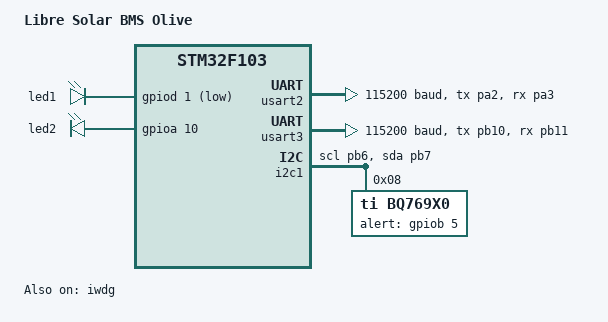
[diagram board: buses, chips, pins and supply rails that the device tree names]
/*
 * Copyright (c) The Libre Solar Project Contributors
 *
 * SPDX-License-Identifier: Apache-2.0
 */

/dts-v1/;
#include <st/f1/stm32f103X8.dtsi>
#include <st/f1/stm32f103r(c-d-e)tx-pinctrl.dtsi>

/ {
	model = "Libre Solar BMS Olive";
	compatible = "st,stm32f103";

	pcb {
		compatible = "bms";

		type = "BMS Olive";
		version-str = "v0.1";
		version-num = <1>;

		/* adjust via overlay if bq76940 is used */
		num-cells-max = <14>;
		num-thermistors-max = <2>;

		current-max = <50>;
		shunt-res = <1000>;

		/*
		 * Additional information:
		 * - GAIN_PACK_VOLTAGE (105.6/5.6)
		 * - PIN_V_BAT    PA_4
		 * - PIN_V_EXT    PA_5
		 */
	};

	chosen {
		zephyr,console = &usart3;
		zephyr,shell-uart = &usart3;
		zephyr,sram = &sram0;
		zephyr,flash = &flash0;
	};

	leds {
		compatible = "gpio-leds";
		led1: led_0 {
			gpios = <&gpiod 1 GPIO_ACTIVE_LOW>;
		};
		led2: led_1 {
			gpios = <&gpioa 10 GPIO_ACTIVE_HIGH>; // bóg wie gdzie to jest
		};
	};

    // guzik jest na NRST
	// gpio_keys {
	// 	compatible = "gpio-keys";
	//	power_button: button {
	//		gpios = <&gpioa 8 GPIO_ACTIVE_HIGH>;
	//	};
	// };

	aliases {
		led-green = &led1;
		led-red = &led2;
		uart-dbg = &usart3;
		uart-uext = &usart3;
		i2c-uext = &i2c1;
		// sw-pwr = &power_button;
	};
};



&clk_hsi {
	clock-frequency = <DT_FREQ_M(8)>;
	status = "okay";
};

&pll {
	clocks = <&clk_hsi>;
	mul = <6>;
	status = "okay";
};

&rcc {
	clocks = <&pll>;
	clock-frequency = <DT_FREQ_M(48)>;
	ahb-prescaler = <1>;
	apb1-prescaler = <1>;
    apb2-prescaler = <1>;
};

&usart2 {
	pinctrl-0 = <&usart2_tx_pa2 &usart2_rx_pa3>;
	pinctrl-names = "default";
	current-speed = <115200>;
	status = "okay";
};

&usart2_rx_pa3 {
	bias-pull-up;	// avoid junk characters if pin is left floating
};

&usart3 {
	pinctrl-0 = <&usart3_tx_pb10 &usart3_rx_pb11>;
	pinctrl-names = "default";
	current-speed = <115200>;
	status = "okay";
};

&usart3_rx_pb11 {
	bias-pull-up;	// avoid junk characters if pin is left floating
};

&i2c1 {
	pinctrl-0 = <&i2c1_scl_pb6 &i2c1_sda_pb7>;
	pinctrl-names = "default";
	status = "okay";

    bq769x0@8 {
        compatible = "ti,bq769x0";
        reg = <0x08>;     // ignored (firmware will auto-detect I2C address)
        alert-gpios = <&gpiob 5 GPIO_ACTIVE_HIGH>;
    };
};

&iwdg {
	status = "okay";
};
